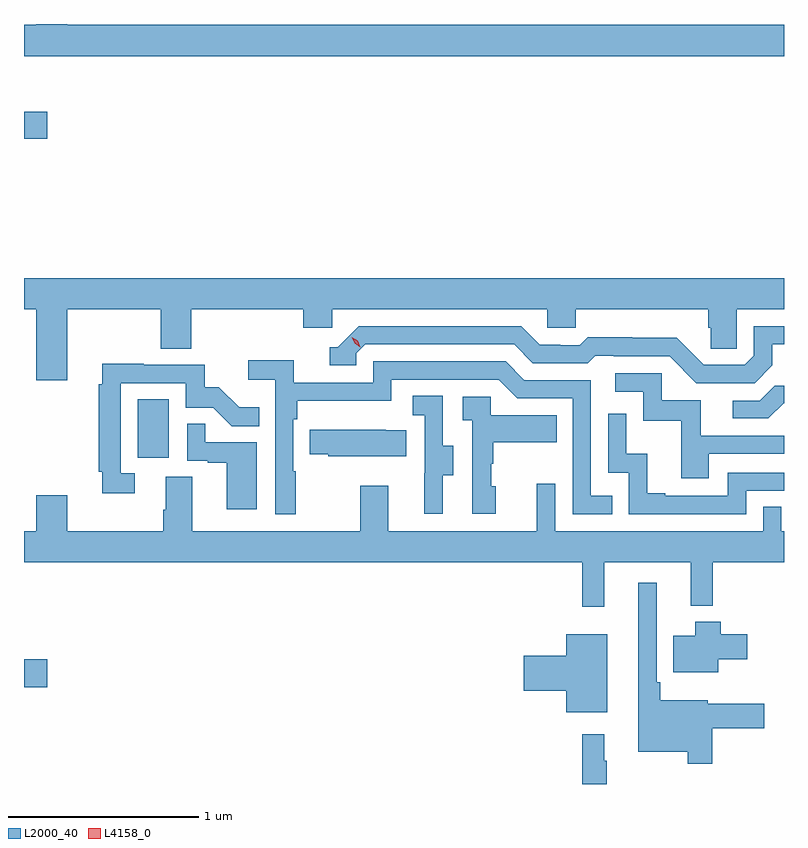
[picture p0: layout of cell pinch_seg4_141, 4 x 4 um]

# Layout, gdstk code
import gdstk
lib = gdstk.Library(unit=1e-6, precision=1e-09)
def R(c, l, rs):  # rectangles x0, y0, x1, y1
    for r in rs: c.add(gdstk.rectangle(r[:2], r[2:], *l))
def P(c, l, *ps):  # polygons
    for p in ps: c.add(gdstk.Polygon(p, *l))
L2000_40 = (2000, 40)
L4158_0 = (4158, 0)

pinch_seg4_141 = lib.new_cell('pinch_seg4_141')
R(pinch_seg4_141, L2000_40, [(1111.996,808.151,1112.119,808.298), (1112.594,809.358,1112.758,809.665), (1111.996,811.037,1112.119,811.179)])
P(pinch_seg4_141, L2000_40, [(1115.996,811.636),(1112.224,811.636),(1112.224,811.641),(1112.06,811.641),(1112.06,811.636),(1111.996,811.636),(1111.996,811.472),(1115.996,811.472)],
  [(1112.224,810.14),(1112.716,810.14),(1112.716,809.932),(1112.876,809.932),(1112.876,810.14),(1113.467,810.14),(1113.467,810.042),(1113.618,810.042),(1113.618,810.14),(1114.749,810.14),(1114.749,810.042),(1114.899,810.042),(1114.899,810.14),(1115.597,810.14),(1115.597,810.042),(1115.611,810.042),(1115.611,809.932),(1115.748,809.932),(1115.748,810.14),(1115.996,810.14),(1115.996,810.304),(1111.996,810.304),(1111.996,810.14),(1112.06,810.14),(1112.06,809.766),(1112.224,809.766)],
  [(1115.935,809.845),(1115.935,809.955),(1115.996,809.955),(1115.996,810.051),(1115.838,810.051),(1115.838,809.895),(1115.79,809.847),(1115.574,809.847),(1115.432,809.989),(1115.196,809.989),(1115.196,809.992),(1114.963,809.992),(1114.921,809.949),(1114.818,809.949),(1114.818,809.952),(1114.711,809.952),(1114.612,810.051),(1113.759,810.051),(1113.648,809.94),(1113.605,809.94),(1113.605,809.844),(1113.744,809.844),(1113.744,809.907),(1113.792,809.955),(1114.575,809.955),(1114.674,809.856),(1114.963,809.856),(1115.002,809.895),(1115.101,809.895),(1115.101,809.892),(1115.394,809.892),(1115.535,809.751),(1115.841,809.751)],
  [(1113.427,809.288),(1113.414,809.288),(1113.414,809.561),(1113.434,809.561),(1113.434,809.657),(1113.93,809.657),(1113.93,809.769),(1114.494,809.769),(1114.593,809.67),(1114.884,809.67),(1114.884,809.061),(1115.093,809.061),(1115.093,809.157),(1114.98,809.157),(1114.98,809.766),(1114.63,809.766),(1114.531,809.865),(1113.834,809.865),(1113.834,809.754),(1113.416,809.754),(1113.416,809.87),(1113.177,809.87),(1113.177,809.768),(1113.318,809.768),(1113.318,809.061),(1113.427,809.061)],
  [(1112.578,809.277),(1112.505,809.277),(1112.505,809.751),(1112.847,809.751),(1112.847,809.622),(1112.991,809.622),(1113.089,809.524),(1113.233,809.524),(1113.233,809.623),(1113.129,809.623),(1113.022,809.73),(1112.946,809.73),(1112.946,809.847),(1112.627,809.847),(1112.627,809.852),(1112.408,809.852),(1112.408,809.744),(1112.389,809.744),(1112.389,809.284),(1112.408,809.284),(1112.408,809.172),(1112.578,809.172)],
  [(1115.599,809.379),(1115.996,809.379),(1115.996,809.475),(1115.557,809.475),(1115.557,809.661),(1115.352,809.661),(1115.352,809.802),(1115.109,809.802),(1115.109,809.706),(1115.256,809.706),(1115.256,809.553),(1115.455,809.553),(1115.455,809.25),(1115.599,809.25)],
  [(1115.995,809.646),(1115.996,809.646),(1115.996,809.738),(1115.948,809.738),(1115.868,809.658),(1115.727,809.658),(1115.727,809.565),(1115.914,809.565)],
  [(1114.201,809.266),(1114.255,809.266),(1114.255,809.421),(1114.2,809.421),(1114.2,809.684),(1114.041,809.684),(1114.041,809.581),(1114.104,809.581),(1114.104,809.277),(1114.103,809.277),(1114.103,809.064),(1114.201,809.064)],
  [(1114.48,809.208),(1114.455,809.208),(1114.455,809.327),(1114.465,809.327),(1114.465,809.441),(1114.799,809.441),(1114.799,809.581),(1114.452,809.581),(1114.452,809.679),(1114.305,809.679),(1114.305,809.555),(1114.356,809.555),(1114.356,809.064),(1114.48,809.064)],
  [(1115.796,809.184),(1115.996,809.184),(1115.996,809.28),(1115.7,809.28),(1115.7,809.157),(1115.371,809.157),(1115.371,809.17),(1115.276,809.17),(1115.276,809.378),(1115.166,809.378),(1115.166,809.59),(1115.07,809.59),(1115.07,809.28),(1115.178,809.28),(1115.178,809.061),(1115.796,809.061)],
  [(1113.22,809.439),(1112.951,809.439),(1112.951,809.537),(1112.856,809.537),(1112.856,809.343),(1112.963,809.343),(1112.963,809.331),(1113.062,809.331),(1113.062,809.088),(1113.22,809.088)],
  [(1114.007,809.503),(1113.899,809.503),(1113.899,809.506),(1113.499,809.506),(1113.499,809.377),(1113.597,809.377),(1113.597,809.366),(1114.007,809.366)],
  [(1112.741,809.258),(1112.741,809.084),(1112.729,809.084),(1112.729,808.972),(1112.224,808.972),(1112.224,809.161),(1112.06,809.161),(1112.06,808.972),(1111.996,808.972),(1111.996,808.808),(1114.933,808.808),(1114.933,808.575),(1115.051,808.575),(1115.051,808.808),(1115.504,808.808),(1115.504,808.58),(1115.621,808.58),(1115.621,808.808),(1115.996,808.808),(1115.996,808.972),(1115.982,808.972),(1115.982,809.099),(1115.886,809.099),(1115.886,808.972),(1114.791,808.972),(1114.791,809.221),(1114.694,809.221),(1114.694,808.972),(1113.913,808.972),(1113.913,809.212),(1113.766,809.212),(1113.766,808.972),(1112.881,808.972),(1112.881,809.258)],
  [(1115.618,807.934),(1115.893,807.934),(1115.893,808.063),(1115.595,808.063),(1115.595,808.081),(1115.345,808.081),(1115.345,808.177),(1115.325,808.177),(1115.325,808.699),(1115.228,808.699),(1115.228,807.812),(1115.49,807.812),(1115.49,807.747),(1115.618,807.747)],
  [(1115.65,808.298),(1115.803,808.298),(1115.803,808.428),(1115.663,808.428),(1115.663,808.495),(1115.528,808.495),(1115.528,808.42),(1115.414,808.42),(1115.414,808.229),(1115.65,808.229)],
  [(1115.065,808.429),(1114.85,808.429),(1114.85,808.316),(1114.626,808.316),(1114.626,808.133),(1114.85,808.133),(1114.85,808.019),(1115.065,808.019)],
  [(1115.062,807.764),(1115.05,807.764),(1115.05,807.904),(1114.933,807.904),(1114.933,807.641),(1115.062,807.641)])
P(pinch_seg4_141, L4158_0, [(1113.767,809.94),(1113.736,809.96),(1113.721,809.993),(1113.721,809.993),(1113.721,809.993),(1113.752,809.973),(1113.767,809.941),(1113.767,809.94)])

lib.write_gds('pinch_seg4_141.gds')
